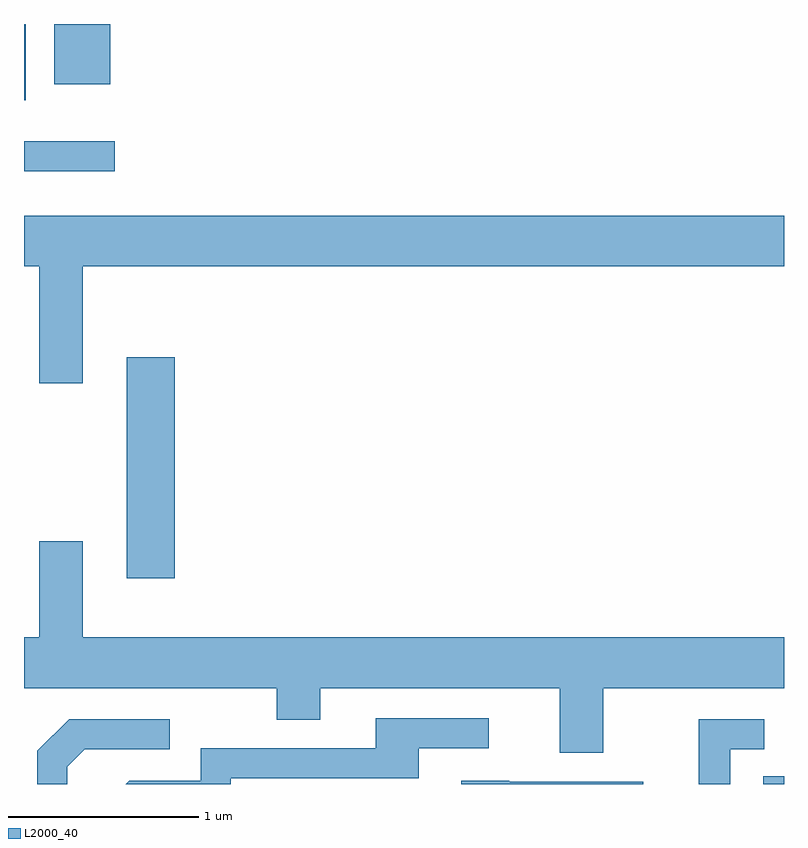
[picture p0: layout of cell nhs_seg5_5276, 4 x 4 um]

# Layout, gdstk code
import gdstk
lib = gdstk.Library(unit=1e-6, precision=1e-09)
def R(c, l, rs):  # rectangles x0, y0, x1, y1
    for r in rs: c.add(gdstk.rectangle(r[:2], r[2:], *l))
def P(c, l, *ps):  # polygons
    for p in ps: c.add(gdstk.Polygon(p, *l))
L2000_40 = (2000, 40)

nhs_seg5_5276 = lib.new_cell('nhs_seg5_5276')
R(nhs_seg5_5276, L2000_40, [(345.501,1454.072,345.611,1454.113), (342.151,1455.156,342.404,1456.319), (341.611,1457.296,342.088,1457.454), (341.611,1457.671,341.619,1458.072), (341.771,1457.756,342.064,1458.072)])
P(nhs_seg5_5276, L2000_40, [(341.919,1456.796),(345.611,1456.796),(345.611,1457.064),(341.611,1457.064),(341.611,1456.796),(341.691,1456.796),(341.691,1456.181),(341.919,1456.181)],
  [(344.659,1454.576),(345.611,1454.576),(345.611,1454.844),(341.919,1454.844),(341.919,1455.349),(341.691,1455.349),(341.691,1454.844),(341.611,1454.844),(341.611,1454.576),(342.941,1454.576),(342.941,1454.411),(343.169,1454.411),(343.169,1454.576),(344.431,1454.576),(344.431,1454.236),(344.659,1454.236)],
  [(342.699,1454.101),(343.689,1454.101),(343.689,1454.261),(344.058,1454.261),(344.058,1454.419),(343.461,1454.419),(343.461,1454.259),(342.541,1454.259),(342.541,1454.089),(342.164,1454.089),(342.147,1454.072),(342.699,1454.072)],
  [(341.839,1454.164),(341.932,1454.256),(342.378,1454.256),(342.378,1454.414),(341.849,1454.414),(341.681,1454.247),(341.681,1454.072),(341.839,1454.072)],
  [(345.329,1454.256),(345.508,1454.256),(345.508,1454.414),(345.161,1454.414),(345.161,1454.072),(345.329,1454.072)],
  [(344.869,1454.084),(344.165,1454.084),(344.165,1454.089),(343.911,1454.089),(343.911,1454.072),(344.869,1454.072)])

lib.write_gds('nhs_seg5_5276.gds')
